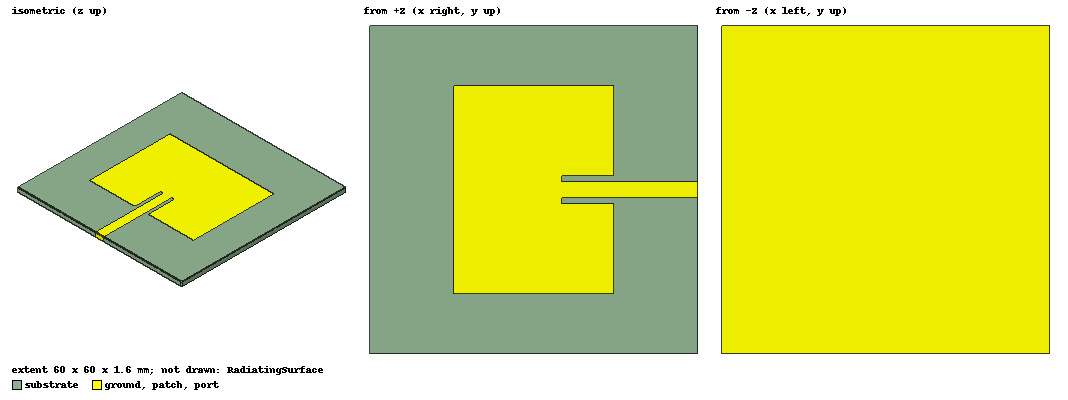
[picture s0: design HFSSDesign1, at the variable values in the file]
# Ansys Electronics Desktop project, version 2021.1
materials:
  vacuum: permittivity=1
  FR4_epoxy: permittivity=4.4 dielectric_loss_tangent=0.02

design HFSSDesign1 (HFSS, DrivenModal, model units mm)
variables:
  sub_x = 60mm
  sub_y = 60mm
  h = 1.6mm
  p_w = 29.4mm
  p_l = 38mm
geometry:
  substrate [FR4_epoxy] = box(corner=(-30mm, -30mm, 0mm), size=(sub_x, sub_y, h))
  patch = rectangle(corner=((-29.4/2) mm, (-38/2) mm, 1.6mm), x_size=p_w, y_size=p_l)
  ground = rectangle(corner=(-30mm, -30mm, 0mm), x_size=60mm, y_size=60mm)
  feed = rectangle(corner=(0mm, -1.5mm, 1.6mm), x_size=30mm, y_size=3mm)
  cut = rectangle(corner=(14.7mm, -2.5mm, 1.6mm), x_size=-9.5mm, y_size=5mm)
  patch.subtract(cut)
  patch.unite(feed)
  port = rectangle(corner=(30mm, -1.5mm, 1.6mm), y_size=3mm, z_size=-1.6mm)
  RadiatingSurface [vacuum] = region(absolute_offset=43.478261mm on all sides)
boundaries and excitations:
  PerfE1: Perfect E Objects=ground
  PerfE2: Perfect E Objects=patch
  Open1: Radiation Objects=RadiatingSurface
  1: Lumped Port Objects=port Modes{Mode1{IntLine{middle of port.edge(z opposite corner) -> middle of port.edge(z at corner)} CharImp=Zpi RenormImp=50ohm}} Impedance=50ohm
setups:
  Setup1: HfssDrivenAuto AutoSolverSetting=Balanced Type=Interpolating
    sweep Sweep: 1GHz to 3GHz, 501 points;
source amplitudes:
  1:1: 1W 0deg
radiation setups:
  3D: Infinite Sphere Theta=0deg..180deg step 2deg Phi=-180deg..180deg step 2deg
  Elevation: Infinite Sphere Theta=-180deg..180deg step 1deg Phi=0deg..90deg step 90deg
  Azimuth: Infinite Sphere Theta=90deg..90deg step 0deg Phi=-180deg..180deg step 1deg
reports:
  S Parameter Plot 1: dB(S(1,1)) vs Freq on Setup1 : Sweep; markers m1 at 2.348GHz
  Gain Plot 1: GainTotal vs Phi, Theta on Setup1 : LastAdaptive, 3D [Freq=2GHz]
  Gain Plot 2: GainTotal vs Theta on Setup1 : LastAdaptive, 3D [Phi=all Freq=2GHz]
  VSWR Plot 1: VSWR(1) vs Freq on Setup1 : Sweep; markers m1 at 2.352GHz
